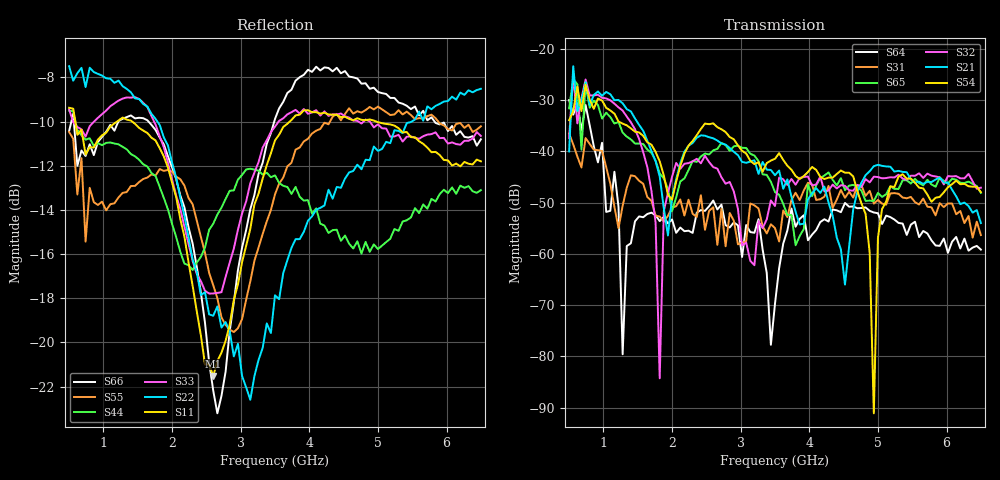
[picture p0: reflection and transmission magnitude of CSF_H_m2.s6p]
!Keysight Technologies,M9804A,MY58100912,A.14.10.03
!Date: Thursday, April 27, 2023 10:28:33
!Correction: S11(C  6-Port  )
!S12(C  6-Port  )
!S13(C  6-Port  )
!S14(C  6-Port  )
!S15(C  6-Port  )
!S16(C  6-Port  )
!S21(C  6-Port  )
!S22(C  6-Port  )
!S23(C  6-Port  )
!S24(C  6-Port  )
!S25(C  6-Port  )
!S26(C  6-Port  )
!S31(C  6-Port  )
!S32(C  6-Port  )
!S33(C  6-Port  )
!S34(C  6-Port  )
!S35(C  6-Port  )
!S36(C  6-Port  )
!S41(C  6-Port  )
!S42(C  6-Port  )
!S43(C  6-Port  )
!S44(C  6-Port  )
!S45(C  6-Port  )
!S46(C  6-Port  )
!S51(C  6-Port  )
!S52(C  6-Port  )
!S53(C  6-Port  )
!S54(C  6-Port  )
!S55(C  6-Port  )
!S56(C  6-Port  )
!S61(C  6-Port  )
!S62(C  6-Port  )
!S63(C  6-Port  )
!S64(C  6-Port  )
!S65(C  6-Port  )
!S66(C  6-Port  )
!S6P File: Measurement: :
# Hz S  RI  R 50
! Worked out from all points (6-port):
!   101 points, 500 MHz to 6.5 GHz, reference 50 ohm
!   strongest paths, dB at 500 MHz, 2 GHz, 3.5 GHz, 5 GHz, 6.5 GHz:
!     S54: -34.0, -49.4, -41.5, -56.9, -48.0
!     S21: -40.0, -49.1, -44.7, -42.6, -54.0
!     S32: -37.4, -45.0, -50.7, -45.0, -47.1
!     S65: -31.6, -51.7, -48.0, -48.1, -48.1
!     S31: -36.6, -51.0, -55.0, -49.5, -56.3
!     S64: -30.0, -53.3, -69.7, -52.1, -59.2
!   lowest |S11| = -21.5 dB at 2.6 GHz (marker M1), VSWR 1.18, Z = 42.5 + j2.13 ohm
!   |S11| at or under -10 dB: 589.4 MHz to 1.199 GHz (609.6 MHz wide, 68.2 % of centre); 1.417 GHz to 3.716 GHz (2.298 GHz wide, 89.5 % of centre); 4.975 GHz to end of sweep
